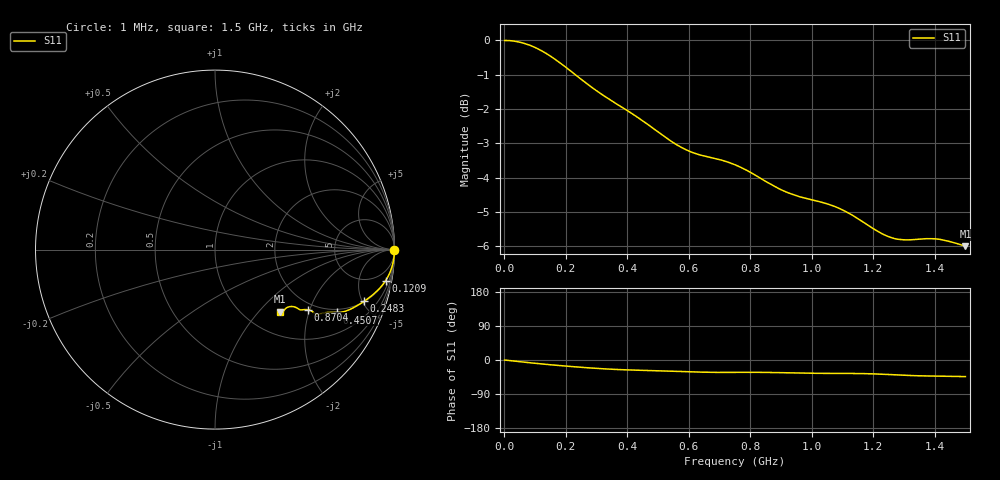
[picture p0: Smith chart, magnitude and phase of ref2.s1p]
! Created with skrf 1.8.0 (http://scikit-rf.org).
# Hz S RI R 50.0
!freq ReS11 ImS11
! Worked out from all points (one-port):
!   201 points, 1 MHz to 1.5 GHz, reference 50 ohm
!   lowest |S11| = -6.0 dB at 1.5 GHz (marker M1), VSWR 3.01, Z = 71 - j65.7 ohm
!   |S11| at or under -10 dB: nowhere
!   S11 on the Smith chart (normalised r, x): 1 MHz: open; 120.9 MHz: 2, -11; 248.3 MHz: 2.03, -5.15; 450.7 MHz: 1.85, -3.09; 870.4 MHz: 1.80, -1.94; 1.5 GHz: 1.42, -1.31
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1000000  0.9997 -0.0011
3.098e7  0.9964 -0.0487
6.096e7  0.9867 -0.0939
9.094e7  0.9711 -0.1357
1.2092e8  0.9501 -0.1738
1.58395e8  0.9183 -0.2148
1.88375e8  0.8897 -0.2426
2.48335e8  0.8301 -0.2884
3.08295e8  0.7753 -0.3217
3.7575e8  0.7251 -0.3438
4.507e8  0.6778 -0.3502
5.63125e8  0.6089 -0.3521
6.08095e8  0.5873 -0.3571
6.38075e8  0.577 -0.3606
6.9054e8  0.5654 -0.3625
7.505e8  0.5548 -0.355
8.02965e8  0.541 -0.3442
8.7042e8  0.5164 -0.3349
9.37875e8  0.4933 -0.3347
1.03531e9  0.4737 -0.3352
1.12525e9  0.4547 -0.324
1.177715e9  0.4361 -0.3177
1.222685e9  0.4171 -0.3176
1.267655e9  0.3997 -0.3237
1.312625e9  0.3881 -0.3337
1.387575e9  0.3801 -0.3458
1.447535e9  0.3737 -0.3457
1.5e9  0.3618 -0.3467
